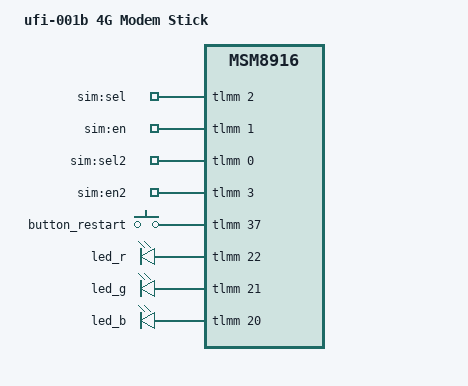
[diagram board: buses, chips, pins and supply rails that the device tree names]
// SPDX-License-Identifier: GPL-2.0-only

/dts-v1/;

#include "msm8916-ufi.dtsi"

/ {
	model = "ufi-001b 4G Modem Stick";
	compatible = "thwc,ufi001b", "qcom,msm8916";
	leds: leds {
		sim_sel {
			label = "sim:sel";
			gpios = <&tlmm 2 GPIO_ACTIVE_HIGH>;
			default-state = "off";
		};

		sim_en {
			label = "sim:en";
			gpios = <&tlmm 1 GPIO_ACTIVE_HIGH>;
			default-state = "off";
		};

		sim_sel2 {
			label = "sim:sel2";
			gpios = <&tlmm 0 GPIO_ACTIVE_HIGH>;
			default-state = "off";
		};

		sim_en2 {
			label = "sim:en2";
			gpios = <&tlmm 3 GPIO_ACTIVE_HIGH>;
			default-state = "off";
		};
	};
};

&button_restart {
	gpios = <&tlmm 37 GPIO_ACTIVE_HIGH>;
};

&led_r {
	gpios = <&tlmm 22 GPIO_ACTIVE_HIGH>;
};

&led_g {
	gpios = <&tlmm 21 GPIO_ACTIVE_HIGH>;
};

&led_b {
	gpios = <&tlmm 20 GPIO_ACTIVE_HIGH>;
};

&button_default {
	pins = "gpio37";
	bias-pull-down;
};

&gpio_leds_default {
	pins = "gpio0","gpio1","gpio2","gpio3","gpio20", "gpio21", "gpio22";
};
